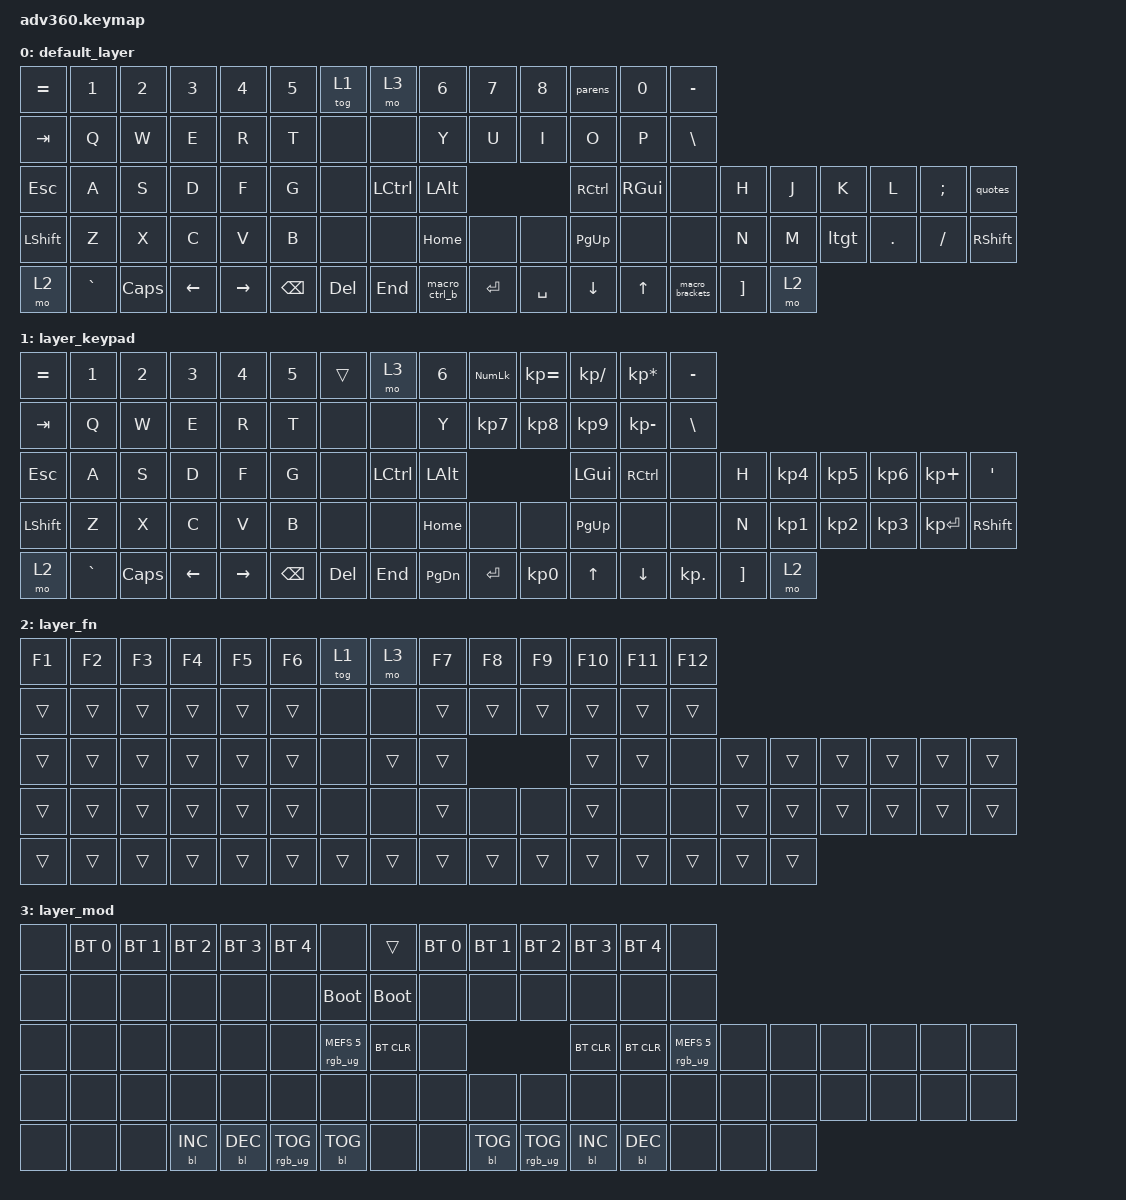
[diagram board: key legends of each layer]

/*
 * Copyright (c) 2020 The ZMK Contributors
 *
 * SPDX-License-Identifier: MIT
 */


/* THIS FILE WAS GENERATED!
 *
 * This file was generated automatically. You may or may not want to
 * edit it directly.
 */

#include <behaviors.dtsi>
#include <dt-bindings/zmk/keys.h>
#include <dt-bindings/zmk/bt.h>
#include <dt-bindings/zmk/rgb.h>
#include <dt-bindings/zmk/backlight.h>

/ {
  behaviors {
    #include "macros.dtsi"

    hm: homerow_mods {
        compatible = "zmk,behavior-hold-tap";
        label = "HOMEROW_MODS";
        #binding-cells = <2>;
        tapping-term-ms = <200>;
        quick_tap_ms = <175>;
        flavor = "tap-preferred";
        bindings = <&kp>, <&kp>;
    };
    quotes: single_double_quotes {
    	compatible = "zmk,behavior-mod-morph";
    	label = "SINGLE_DOUBLE_QUOTES";
    	#binding-cells = <0>;
    	bindings = <&kp SQT>, <&macro_dquotes>;
    	mods = <(MOD_LSFT)>;
    };
    parens: nums_parens {
    	compatible = "zmk,behavior-mod-morph";
	label = "NUMS_PARENS";
	#binding-cells = <0>;
	bindings = <&kp N9>, <&macro_parens>;
	mods = <(MOD_LSFT)>;
    };
    ltgt: comma_lt {
    	compatible = "zmk,behavior-mod-morph";
	label = "COMMA_LT";
	#binding-cells = <0>;
	bindings = <&kp COMMA>, <&macro_carets>;
	mods = <(MOD_LSFT)>;
    };
  };

    keymap {
        compatible = "zmk,keymap";


        default_layer {
            bindings = <
 &kp EQUAL     &kp N1    &kp N2    &kp N3     &kp N4    &kp N5             &tog 1     &mo 3         &kp N6     &kp N7     &kp N8          &parens        &kp N0        &kp MINUS
   &kp TAB      &kp Q     &kp W     &kp E      &kp R     &kp T              &none     &none          &kp Y      &kp U      &kp I           &kp O         &kp P         &kp BSLH
   &kp ESC      &kp A     &kp S     &kp D      &kp F     &kp G              &none  &kp LCTRL       &kp LALT                             &kp RCTRL      &kp RGUI            &none     &kp H   &kp J      &kp K    &kp L  &kp SEMI  &quotes
 &kp LSHFT      &kp Z     &kp X     &kp C      &kp V     &kp B              &none     &none       &kp HOME      &none      &none       &kp PG_UP         &none            &none     &kp N   &kp M  &ltgt  &kp DOT  &kp FSLH      &kp RSHFT
     &mo 2  &kp GRAVE  &kp CAPS  &kp LEFT  &kp RIGHT  &kp BSPC            &kp DEL   &kp END  &macro_ctrl_b  &kp ENTER  &kp SPACE  &kp DOWN_ARROW  &kp UP_ARROW  &macro_brackets  &kp RBKT   &mo 2
            >;
        };

        layer_keypad {
            bindings = <
 &kp EQUAL     &kp N1    &kp N2    &kp N3     &kp N4    &kp N5             &trans      &mo 3     &kp N6  &kp KP_NUM  &kp KP_EQUAL  &kp KP_DIVIDE  &kp KP_MULTIPLY   &kp MINUS
   &kp TAB      &kp Q     &kp W     &kp E      &kp R     &kp T              &none      &none      &kp Y   &kp KP_N7     &kp KP_N8      &kp KP_N9     &kp KP_MINUS    &kp BSLH
   &kp ESC      &kp A     &kp S     &kp D      &kp F     &kp G              &none  &kp LCTRL   &kp LALT                                 &kp LGUI        &kp RCTRL       &none     &kp H  &kp KP_N4  &kp KP_N5  &kp KP_N6   &kp KP_PLUS    &kp SQT
 &kp LSHFT      &kp Z     &kp X     &kp C      &kp V     &kp B              &none      &none   &kp HOME       &none         &none      &kp PG_UP            &none       &none     &kp N  &kp KP_N1  &kp KP_N2  &kp KP_N3  &kp KP_ENTER  &kp RSHFT
     &mo 2  &kp GRAVE  &kp CAPS  &kp LEFT  &kp RIGHT  &kp BSPC            &kp DEL    &kp END  &kp PG_DN   &kp ENTER     &kp KP_N0         &kp UP         &kp DOWN  &kp KP_DOT  &kp RBKT      &mo 2
            >;
        };

        layer_fn {
            bindings = <
 &kp F1  &kp F2  &kp F3  &kp F4  &kp F5  &kp F6            &tog 1   &mo 3  &kp F7  &kp F8  &kp F9  &kp F10  &kp F11  &kp F12
 &trans  &trans  &trans  &trans  &trans  &trans             &none   &none  &trans  &trans  &trans   &trans   &trans   &trans
 &trans  &trans  &trans  &trans  &trans  &trans             &none  &trans  &trans                   &trans   &trans    &none  &trans  &trans  &trans  &trans  &trans  &trans
 &trans  &trans  &trans  &trans  &trans  &trans             &none   &none  &trans   &none   &none   &trans    &none    &none  &trans  &trans  &trans  &trans  &trans  &trans
 &trans  &trans  &trans  &trans  &trans  &trans            &trans  &trans  &trans  &trans  &trans   &trans   &trans   &trans  &trans  &trans
            >;
        };

        layer_mod {
            bindings = <
  &none  &bt BT_SEL 0  &bt BT_SEL 1  &bt BT_SEL 2  &bt BT_SEL 3     &bt BT_SEL 4                             &none       &trans  &bt BT_SEL 0  &bt BT_SEL 1     &bt BT_SEL 2  &bt BT_SEL 3  &bt BT_SEL 4                   &none
  &none         &none         &none         &none         &none            &none                       &bootloader  &bootloader         &none         &none            &none         &none         &none                   &none
  &none         &none         &none         &none         &none            &none            &rgb_ug RGB_MEFS_CMD 5   &bt BT_CLR         &none                                   &bt BT_CLR    &bt BT_CLR  &rgb_ug RGB_MEFS_CMD 5   &none   &none   &none   &none   &none   &none
  &none         &none         &none         &none         &none            &none                             &none        &none         &none         &none            &none         &none         &none                   &none   &none   &none   &none   &none   &none   &none
  &none         &none         &none    &bl BL_INC    &bl BL_DEC  &rgb_ug RGB_TOG                        &bl BL_TOG        &none         &none    &bl BL_TOG  &rgb_ug RGB_TOG    &bl BL_INC    &bl BL_DEC                   &none   &none   &none
            >;
        };

    };
};
